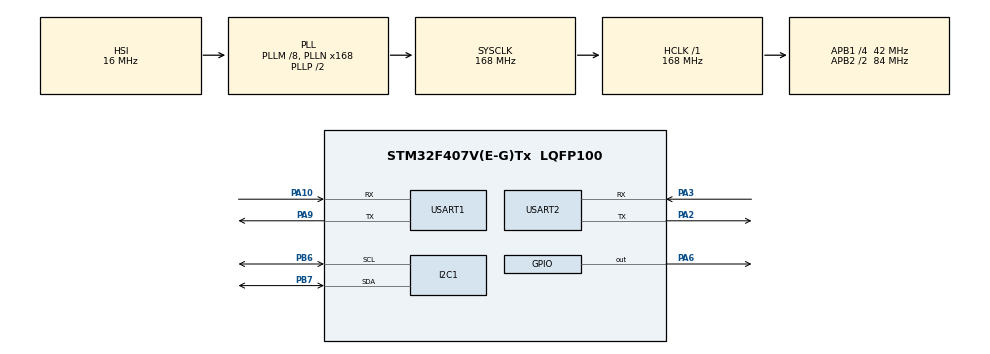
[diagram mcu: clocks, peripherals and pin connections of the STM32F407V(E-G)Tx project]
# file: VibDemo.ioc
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Dma.Request0=TIM3_CH4/UP
Dma.TIM3_CH4/UP.0.Direction=DMA_PERIPH_TO_MEMORY
Dma.TIM3_CH4/UP.0.FIFOMode=DMA_FIFOMODE_DISABLE
Dma.TIM3_CH4/UP.0.Instance=DMA1_Stream2
Dma.TIM3_CH4/UP.0.MemDataAlignment=DMA_MDATAALIGN_HALFWORD
Dma.TIM3_CH4/UP.0.MemInc=DMA_MINC_ENABLE
Dma.TIM3_CH4/UP.0.Mode=DMA_NORMAL
Dma.TIM3_CH4/UP.0.PeriphDataAlignment=DMA_PDATAALIGN_HALFWORD
Dma.TIM3_CH4/UP.0.PeriphInc=DMA_PINC_DISABLE
Dma.TIM3_CH4/UP.0.Priority=DMA_PRIORITY_LOW
I2C1.I2C_Mode=I2C_Fast
Mcu.Family=STM32F4
Mcu.Name=STM32F407V(E-G)Tx
Mcu.Package=LQFP100
NVIC.DMA1_Stream2_IRQn=true\:0\:0\:false\:false\:true\:false\:true\:true
NVIC.I2C1_ER_IRQn=true\:0\:0\:false\:false\:true\:true\:true\:true
NVIC.I2C1_EV_IRQn=true\:0\:0\:false\:false\:true\:true\:true\:true
NVIC.PriorityGroup=NVIC_PRIORITYGROUP_4
NVIC.TIM3_IRQn=true\:0\:0\:false\:false\:true\:true\:true\:true
NVIC.TIM7_IRQn=true\:15\:0\:false\:false\:true\:false\:true\:true
NVIC.TimeBase=TIM7_IRQn
NVIC.TimeBaseIP=TIM7
NVIC.USART1_IRQn=true\:0\:0\:false\:false\:true\:true\:true\:true
NVIC.USART2_IRQn=true\:0\:0\:false\:false\:true\:true\:true\:true
PA10.Mode=Asynchronous
PA10.Signal=USART1_RX
PA13.Mode=Serial_Wire
PA13.Signal=SYS_JTMS-SWDIO
PA14.Mode=Serial_Wire
PA14.Signal=SYS_JTCK-SWCLK
PA2.Mode=Asynchronous
PA2.Signal=USART2_TX
PA3.Mode=Asynchronous
PA3.Signal=USART2_RX
PA6.PinState=GPIO_PIN_RESET
PA6.Signal=GPIO_Output
PA9.Mode=Asynchronous
PA9.Signal=USART1_TX
PB6.Mode=I2C
PB6.Signal=I2C1_SCL
PB7.Mode=I2C
PB7.Signal=I2C1_SDA
PC14-OSC32_IN.Mode=LSE-External-Oscillator
PC14-OSC32_IN.Signal=RCC_OSC32_IN
PC15-OSC32_OUT.Mode=LSE-External-Oscillator
PC15-OSC32_OUT.Signal=RCC_OSC32_OUT
PH0-OSC_IN.Mode=HSE-External-Oscillator
PH0-OSC_IN.Signal=RCC_OSC_IN
PH1-OSC_OUT.Mode=HSE-External-Oscillator
PH1-OSC_OUT.Signal=RCC_OSC_OUT
ProjectManager.HeapSize=0x200
ProjectManager.StackSize=0x400
ProjectManager.TargetToolchain=MDK-ARM V5.32
RCC.48MHZClocksFreq_Value=84000000
RCC.AHBFreq_Value=168000000
RCC.APB1CLKDivider=RCC_HCLK_DIV4
RCC.APB1Freq_Value=42000000
RCC.APB1TimFreq_Value=84000000
RCC.APB2CLKDivider=RCC_HCLK_DIV2
RCC.APB2Freq_Value=84000000
RCC.APB2TimFreq_Value=168000000
RCC.CortexFreq_Value=168000000
RCC.HCLKFreq_Value=168000000
RCC.HSE_VALUE=25000000
RCC.HSI_VALUE=16000000
RCC.PLLM=8
RCC.PLLN=168
RCC.SYSCLKFreq_VALUE=168000000
RCC.SYSCLKSource=RCC_SYSCLKSOURCE_PLLCLK
RCC.VCOOutputFreq_Value=336000000
TIM3.Period=249
TIM3.Prescaler=83
TIM3.TIM_MasterOutputTrigger=TIM_TRGO_UPDATE
USART1.VirtualMode=VM_ASYNC
USART2.VirtualMode=VM_ASYNC
VP_SYS_VS_tim7.Mode=TIM7
VP_TIM3_VS_ClockSourceINT.Mode=Internal
board=custom

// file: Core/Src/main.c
#include "main.h"

/* USER CODE BEGIN PTD */
/* USER CODE BEGIN PV */

/* USER CODE END PV */
/* USER CODE END PTD */

/* USER CODE BEGIN PV */
volatile uint8_t uartBusy = 0;
/* USER CODE END PV */

void SystemClock_Config(void);
/* USER CODE BEGIN PFP */
HAL_StatusTypeDef MPU6050_Init(void);
/* USER CODE END PFP */

int main(void)
{

  /* MCU Configuration--------------------------------------------------------*/

  /* Reset of all peripherals, Initializes the Flash interface and the Systick. */
  HAL_Init();

  /* Configure the system clock */
  SystemClock_Config();

  /* Initialize all configured peripherals */
  MX_GPIO_Init();
  MX_DMA_Init();
  MX_I2C1_Init();
  MX_USART1_UART_Init();
  MX_USART2_UART_Init();
  MX_TIM3_Init();
	MPU6050_Init();
  /* USER CODE BEGIN 2 */
/* USER CODE BEGIN 2 */
printf("Testing MPU6050 with blocking read...\r\n");

// 先进行阻塞读取测试
int16_t testData[3];
HAL_StatusTypeDef status = HAL_I2C_Mem_Read(&hi2c1, MPU6050_ADDR, 0x3B, I2C_MEMADD_SIZE_8BIT,
                                           (uint8_t*)testData, 6, 100);

if(status == HAL_OK) {
    printf("Blocking read - X=%6d, Y=%6d, Z=%6d\r\n", testData[0], testData[1], testData[2]);
} else {
    printf("Blocking read failed: %d\r\n", status);
}

// 然后启动DMA
printf("Starting MPU6050 DMA Read...\r\n");
status = HAL_I2C_Mem_Read_DMA(&hi2c1, MPU6050_ADDR, 0x3B, I2C_MEMADD_SIZE_8BIT,
                              (uint8_t*)rawBuf[bufIdx], SMP_LEN*2);

printf("DMA Start Status: %d\r\n", status);
printf("I2C State: %d\r\n", HAL_I2C_GetState(&hi2c1));
/* USER CODE END 2 */

  /* USER CODE END 2 */

  /* Infinite loop */
  /* USER CODE BEGIN WHILE */
while (1)
{
    if(bufFull){
        uartBusy = 1;

        printf("[Main] Processing buffer %d\r\n", 1-bufIdx);
        printf("[Main] Raw Data - X=%6d, Y=%6d, Z=%6d\r\n",
               rawBuf[1-bufIdx][0], rawBuf[1-bufIdx][1], rawBuf[1-bufIdx][2]);

        // 手动计算RMS（简单可靠）
        int32_t sum_sq = (int32_t)rawBuf[1-bufIdx][0] * rawBuf[1-bufIdx][0] +
                         (int32_t)rawBuf[1-bufIdx][1] * rawBuf[1-bufIdx][1] +
                         (int32_t)rawBuf[1-bufIdx][2] * rawBuf[1-bufIdx][2];

        float rms = sqrtf((float)sum_sq / 3.0f);
        float rms_g = rms / 16384.0f;  // 转换为g单位

        printf("RMS=%.6f g\r\n", rms_g);

        bufFull = 0;
        uartBusy = 0;

    } else {
        static uint32_t noDataCount = 0;
        noDataCount++;
        if(noDataCount % 10 == 0) {
            uartBusy = 1;
            printf("[Main %lu] Waiting for data...\r\n", noDataCount);
            uartBusy = 0;
        }
    }
    HAL_Delay(1000);
}
  /* USER CODE END 3 */
}

void SystemClock_Config(void)
{
  RCC_OscInitTypeDef RCC_OscInitStruct = {0};
  RCC_ClkInitTypeDef RCC_ClkInitStruct = {0};

  /** Configure the main internal regulator output voltage
  */
  __HAL_RCC_PWR_CLK_ENABLE();
  __HAL_PWR_VOLTAGESCALING_CONFIG(PWR_REGULATOR_VOLTAGE_SCALE1);

  /** Initializes the RCC Oscillators according to the specified parameters
  * in the RCC_OscInitTypeDef structure.
  */
  RCC_OscInitStruct.OscillatorType = RCC_OSCILLATORTYPE_HSI;
  RCC_OscInitStruct.HSIState = RCC_HSI_ON;
  RCC_OscInitStruct.HSICalibrationValue = RCC_HSICALIBRATION_DEFAULT;
  RCC_OscInitStruct.PLL.PLLState = RCC_PLL_ON;
  RCC_OscInitStruct.PLL.PLLSource = RCC_PLLSOURCE_HSI;
  RCC_OscInitStruct.PLL.PLLM = 8;
  RCC_OscInitStruct.PLL.PLLN = 168;
  RCC_OscInitStruct.PLL.PLLP = RCC_PLLP_DIV2;
  RCC_OscInitStruct.PLL.PLLQ = 4;
  if (HAL_RCC_OscConfig(&RCC_OscInitStruct) != HAL_OK)
  {
    Error_Handler();
  }

  /** Initializes the CPU, AHB and APB buses clocks
  */
  RCC_ClkInitStruct.ClockType = RCC_CLOCKTYPE_HCLK|RCC_CLOCKTYPE_SYSCLK
                              |RCC_CLOCKTYPE_PCLK1|RCC_CLOCKTYPE_PCLK2;
  RCC_ClkInitStruct.SYSCLKSource = RCC_SYSCLKSOURCE_PLLCLK;
  RCC_ClkInitStruct.AHBCLKDivider = RCC_SYSCLK_DIV1;
  RCC_ClkInitStruct.APB1CLKDivider = RCC_HCLK_DIV4;
  RCC_ClkInitStruct.APB2CLKDivider = RCC_HCLK_DIV2;

  if (HAL_RCC_ClockConfig(&RCC_ClkInitStruct, FLASH_LATENCY_5) != HAL_OK)
  {
    Error_Handler();
  }
}

/* USER CODE BEGIN 4 */

void HAL_I2C_MemRxCpltCallback(I2C_HandleTypeDef *hi2c)
{
    if(hi2c->Instance == I2C1){
        HAL_GPIO_TogglePin(GPIOA, GPIO_PIN_6);  // LED指示
        bufFull = 1;
        bufIdx = 1 - bufIdx;

        // 重启DMA
        HAL_I2C_Mem_Read_DMA(&hi2c1, MPU6050_ADDR, 0x3B, I2C_MEMADD_SIZE_8BIT,
                            (uint8_t*)&rawBuf[bufIdx][0], SMP_LEN*2);
    }
}

void HAL_I2C_ErrorCallback(I2C_HandleTypeDef *hi2c)
{
    printf("I2C Error: %lu\n", hi2c->ErrorCode);
    // 可以在这里重启I2C或DMA
}
/* USER CODE END 4 */

void HAL_TIM_PeriodElapsedCallback(TIM_HandleTypeDef *htim)
{
  if (htim->Instance == TIM7)
  {
    HAL_IncTick();
  }
}

void Error_Handler(void)
{
  __disable_irq();
  while (1)
  {
  }
}

HAL_StatusTypeDef MPU6050_Init(void) {
    uint8_t check, data;
    HAL_StatusTypeDef status;

    status = HAL_I2C_Mem_Read(&hi2c1, MPU6050_ADDR, WHO_AM_I_REG, 1, &check, 1, 100);
    if(status != HAL_OK) {
        printf("MPU6050 WHO_AM_I read failed: %d\r\n", status);
        return status;
    }
    if(check != 0x68) {
        printf("MPU6050 WHO_AM_I check failed: 0x%02X\r\n", check);
        return HAL_ERROR;
    }
    printf("MPU6050 detected, WHO_AM_I=0x%02X\r\n", check);

    data = 0x00;
    HAL_I2C_Mem_Write(&hi2c1, MPU6050_ADDR, PWR_MGMT_1_REG, 1, &data, 1, 100);
    HAL_Delay(10);

    data = 0x07;
    HAL_I2C_Mem_Write(&hi2c1, MPU6050_ADDR, SMPLRT_DIV_REG, 1, &data, 1, 100);

    data = 0x03;
    HAL_I2C_Mem_Write(&hi2c1, MPU6050_ADDR, CONFIG_REG, 1, &data, 1, 100);

    data = 0x00;
    HAL_I2C_Mem_Write(&hi2c1, MPU6050_ADDR, GYRO_CONFIG_REG, 1, &data, 1, 100);

    data = 0x00;
    HAL_I2C_Mem_Write(&hi2c1, MPU6050_ADDR, ACCEL_CONFIG_REG, 1, &data, 1, 100);
    printf("MPU6050 initialized successfully.\r\n");
    return HAL_OK;
}
